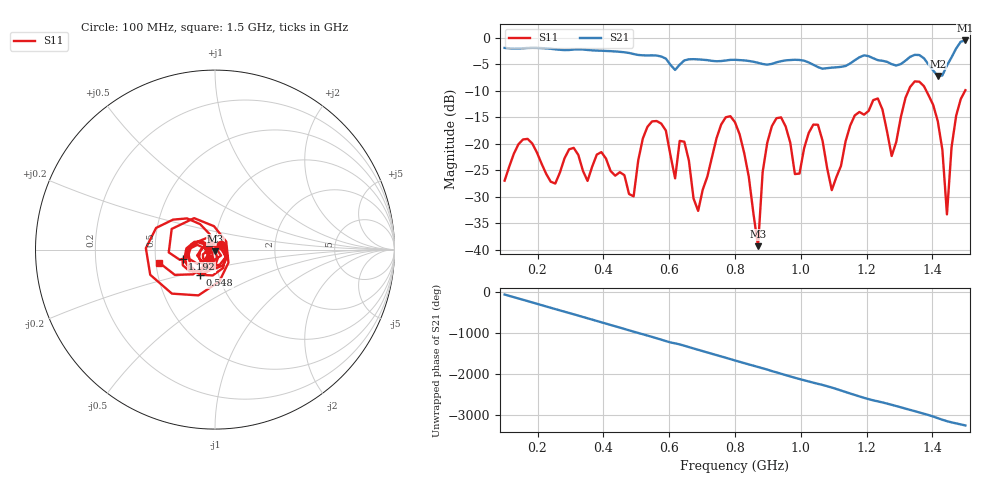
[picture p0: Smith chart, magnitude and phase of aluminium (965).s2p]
! NanoVNA-App
! Date: 2025-09-25 15:02:47
! Start: 100MHz Stop: 1,5GHz Points: 101
! S-Parameter data: F S11 S21 S12 S22
# Hz S RI R 50
!  Frequency  S11_Real  S11_Imag  S21_Real  S21_Imag  S12_Real  S12_Imag  S22_Real  S22_Imag
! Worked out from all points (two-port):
!   101 points, 100 MHz to 1.5 GHz, reference 50 ohm
!   highest |S21| = -0.51 dB at 1.5 GHz (marker M1); lowest = -7.2 dB at 1.416 GHz (marker M2)
!   |S21| within 3 dB of the highest: start of sweep to 573.9 MHz; 1.459 GHz to end of sweep (the widest 2 of 4)
!   lowest |S11| = -39.3 dB at 870 MHz (marker M3), VSWR 1.02, Z = 50.2 - j1.06 ohm
!   |S11| at or under -10 dB: start of sweep to 1.327 GHz; 1.381 GHz to 1.499 GHz (118 MHz wide, 8.19 % of centre)
!   S12 and S22 are empty: the file has one direction only
!   S11 on the Smith chart (normalised r, x): 100 MHz: 1.07, +0.06; 548 MHz: 0.82, -0.24; 1.192 GHz: 0.69, -0.07; 1.5 GHz: 0.52, -0.08
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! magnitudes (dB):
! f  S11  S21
! 100 MHz  -27.0  -1.9
! 156 MHz  -19.2  -2.0
! 338 MHz  -25.1  -2.2
! 492 MHz  -29.9  -3.1
! 548 MHz  -15.8  -3.3
! 576 MHz  -16.2  -3.5
! 646 MHz  -19.6  -4.3
! 688 MHz  -32.7  -4.1
! 800 MHz  -15.9  -4.2
! 870 MHz  -39.3  -4.7
! 912 MHz  -16.7  -4.9
! 982 MHz  -25.7  -4.2
! 1.038 GHz  -16.4  -5.1
! 1.094 GHz  -28.7  -5.6
! 1.192 GHz  -14.5  -3.3
! 1.234 GHz  -11.5  -4.2
! 1.276 GHz  -22.3  -5.0
! 1.346 GHz  -8.2  -3.2
! 1.416 GHz  -15.7  -7.2
! 1.444 GHz  -33.3  -5.2
! 1.472 GHz  -14.7  -2.0
! 1.5 GHz  -9.9  -0.5
